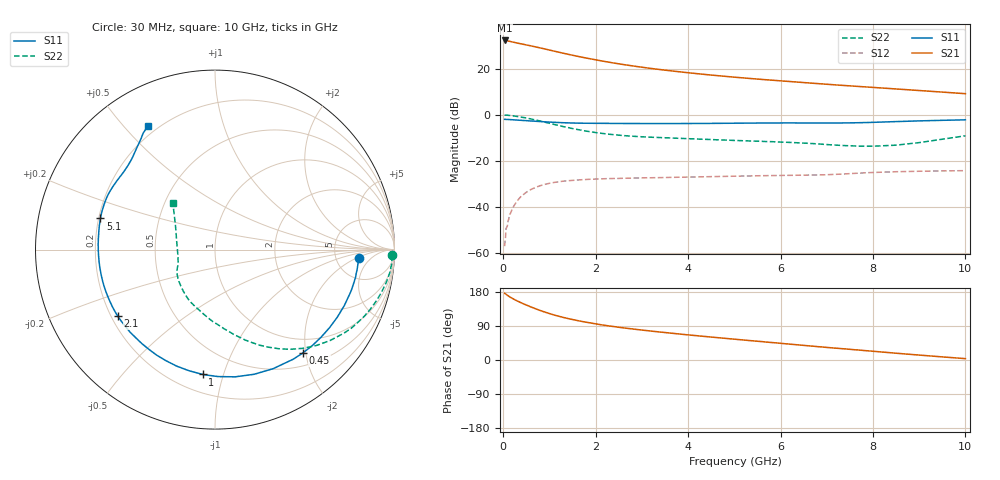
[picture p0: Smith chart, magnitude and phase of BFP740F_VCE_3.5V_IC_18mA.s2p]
! Infineon Technologies  Discrete & RF Semiconductors
! BFP740F
! VCE =  3.5 V,  IC =  18 mA
! Common Emitter S-Parameters:  Oct 2012
# GHz  S  MA  R  50
!  f  S11  S21  S12  S22
! GHz  MAG  ANG  MAG  ANG  MAG  ANG  MAG  ANG
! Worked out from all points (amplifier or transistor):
!   99 points, 30 MHz to 10 GHz, reference 50 ohm
!   highest |S21| = 32.4 dB at 30 MHz (marker M1)
!   |S21| within 3 dB of that: start of sweep to 745 MHz
!   unconditionally stable (mu >= 1): 6.022 GHz to end of sweep
!   at 350 MHz: K = 0.14, MSG = 33.7 dB, |S12| = -36.2 dB
!   at 3.5 GHz: K = 0.65, MSG = 23.4 dB, |S12| = -27.2 dB
!   at 10 GHz: K = 1.21, MAG = 14.0 dB, |S12| = -24.2 dB
!   S11 on the Smith chart (normalised r, x): 30 MHz: 8.47, -2.33; 450 MHz: 0.72, -1.95; 1 GHz: 0.31, -0.86; 2.1 GHz: 0.23, -0.30; 5.1 GHz: 0.21, +0.13; 10 GHz: 0.16, +0.58
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0.03  0.8024 -3.5  41.61 176.0  0.0014 70.4  0.987 -1.9
0.05  0.8002 -5.9  41.6 174.4  0.0022 74.5  0.9872 -3.5
0.1  0.7971 -11.9  40.72 169.9  0.0046 84.9  0.9826 -7.4
0.15  0.7912 -17.7  39.62 165.9  0.007 79.1  0.9705 -11.1
0.2  0.7851 -23.4  38.54 162.4  0.0092 76.5  0.9572 -14.5
0.35  0.7665 -39.5  35.72 153.1  0.0154 70.1  0.9107 -24.1
0.45  0.7558 -49.6  34.1 147.6  0.019 65.6  0.8758 -30.1
0.6  0.7383 -64.0  31.74 139.9  0.0239 58.5  0.8165 -38.4
0.7  0.7281 -72.6  30.13 135.2  0.0266 54.7  0.7761 -43.6
0.8  0.7177 -81.0  28.65 130.6  0.0289 51.1  0.7356 -48.4
1  0.6991 -95.6  25.74 122.5  0.0326 44.6  0.6582 -57.1
1.3  0.6766 -113.8  21.96 112.3  0.0363 37.6  0.5576 -68.3
1.5  0.6666 -123.6  19.84 106.8  0.0377 34.1  0.505 -74.6
1.7  0.6604 -131.9  18.02 101.8  0.039 31.2  0.4622 -80.4
2.1  0.6568 -145.6  15.12 93.3  0.0406 26.9  0.4013 -91.7
2.7  0.6511 -160.1  12.04 83.3  0.0421 23.2  0.3493 -104.3
3.4  0.6492 -172.5  9.677 73.7  0.0433 21.0  0.3217 -115.2
4.2  0.6517 176.1  7.882 64.0  0.0449 19.9  0.299 -124.0
5.1  0.6619 164.8  6.495 53.8  0.0467 19.3  0.2767 -133.9
6.7  0.6676 146.4  4.882 36.5  0.0493 19.2  0.2379 -152.5
8.5  0.7161 127.4  3.67 17.9  0.0582 18.2  0.22 166.5
10  0.7819 118.6  2.897 3.6  0.0614 13.7  0.3517 132.0
